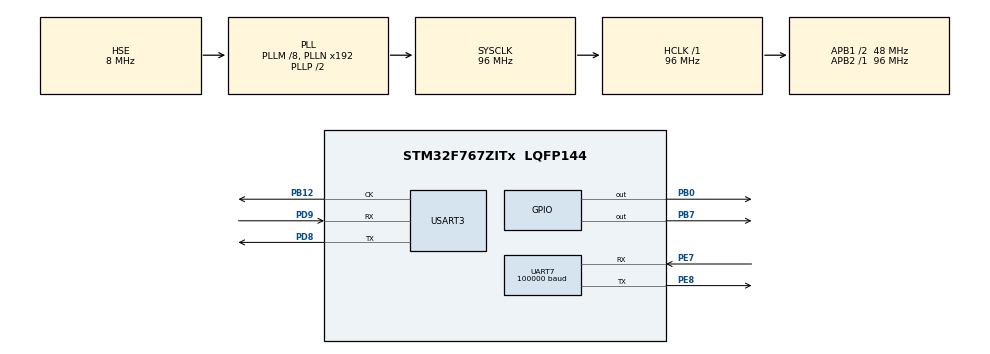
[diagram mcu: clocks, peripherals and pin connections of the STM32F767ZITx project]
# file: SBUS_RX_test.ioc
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Dma.Request0=UART7_RX
Dma.UART7_RX.0.Direction=DMA_PERIPH_TO_MEMORY
Dma.UART7_RX.0.FIFOMode=DMA_FIFOMODE_DISABLE
Dma.UART7_RX.0.Instance=DMA1_Stream3
Dma.UART7_RX.0.MemDataAlignment=DMA_MDATAALIGN_BYTE
Dma.UART7_RX.0.MemInc=DMA_MINC_ENABLE
Dma.UART7_RX.0.Mode=DMA_NORMAL
Dma.UART7_RX.0.PeriphDataAlignment=DMA_PDATAALIGN_BYTE
Dma.UART7_RX.0.PeriphInc=DMA_PINC_DISABLE
Dma.UART7_RX.0.Priority=DMA_PRIORITY_HIGH
Mcu.Family=STM32F7
Mcu.Name=STM32F767ZITx
Mcu.Package=LQFP144
NVIC.DMA1_Stream3_IRQn=true\:0\:0\:false\:false\:true\:false\:true
NVIC.PriorityGroup=NVIC_PRIORITYGROUP_4
PB0.Signal=GPIO_Output
PB12.Mode=Synchronous
PB12.Signal=USART3_CK
PB7.Signal=GPIO_Output
PC14/OSC32_IN.Mode=LSE-External-Oscillator
PC14/OSC32_IN.Signal=RCC_OSC32_IN
PC15/OSC32_OUT.Mode=LSE-External-Oscillator
PC15/OSC32_OUT.Signal=RCC_OSC32_OUT
PD8.Mode=Synchronous
PD8.Signal=USART3_TX
PD9.Mode=Synchronous
PD9.Signal=USART3_RX
PE7.Mode=Asynchronous
PE7.Signal=UART7_RX
PE8.Mode=Asynchronous
PE8.Signal=UART7_TX
PH0/OSC_IN.Mode=HSE-External-Clock-Source
PH0/OSC_IN.Signal=RCC_OSC_IN
PH1/OSC_OUT.Mode=HSE-External-Clock-Source
PH1/OSC_OUT.Signal=RCC_OSC_OUT
ProjectManager.HeapSize=0x200
ProjectManager.StackSize=0x400
ProjectManager.TargetToolchain=STM32CubeIDE
RCC.48MHZClocksFreq_Value=24000000
RCC.AHBFreq_Value=96000000
RCC.APB1CLKDivider=RCC_HCLK_DIV2
RCC.APB1Freq_Value=48000000
RCC.APB1TimFreq_Value=96000000
RCC.APB2Freq_Value=96000000
RCC.APB2TimFreq_Value=96000000
RCC.CortexFreq_Value=96000000
RCC.HCLKFreq_Value=96000000
RCC.HSE_VALUE=8000000
RCC.HSI_VALUE=16000000
RCC.PLLM=8
RCC.PLLMUL=RCC_PLL_MUL9
RCC.PLLSourceVirtual=RCC_PLLSOURCE_HSE
RCC.PRESCALERUSB=RCC_USBCLKSOURCE_PLL_DIV1_5
RCC.SYSCLKFreq_VALUE=96000000
RCC.SYSCLKSource=RCC_SYSCLKSOURCE_PLLCLK
RCC.SYSCLKSourceVirtual=RCC_SYSCLKSOURCE_PLLCLK
RCC.USBFreq_Value=96000000
RCC.VCOOutputFreq_Value=192000000
TIM1.Period=65000
TIM1.Prescaler=96
TIM2.Period=65000
TIM2.Prescaler=96
UART7.BaudRate=100000
UART7.Mode=MODE_RX
UART7.Parity=PARITY_EVEN
UART7.StopBits=UART_STOPBITS_2
UART7.WordLength=WORDLENGTH_9B
USART3.VirtualMode-Synchronous=VM_SYNC
VP_TIM1_VS_ClockSourceINT.Mode=Internal
VP_TIM2_VS_ClockSourceINT.Mode=Internal
board=NUCLEO-F767ZI

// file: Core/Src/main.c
/* USER CODE BEGIN Header */
/**
  ******************************************************************************
  * @file           : main.c
  * @brief          : Main program body
  ******************************************************************************
  * @attention
  *
  * <h2><center>&copy; Copyright (c) 2020 STMicroelectronics.
  * All rights reserved.</center></h2>
  *
  * This software component is licensed by ST under BSD 3-Clause license,
  * the "License"; You may not use this file except in compliance with the
  * License. You may obtain a copy of the License at:
  *                        opensource.org/licenses/BSD-3-Clause
  *
  ******************************************************************************
  */
/* USER CODE END Header */

#include "main.h"

/* USER CODE BEGIN Includes */
#include <string.h> // per riconoscere le funzioni sulle stringhe
#include <stdio.h>
/* USER CODE END Includes */

UART_HandleTypeDef huart7;
USART_HandleTypeDef husart3;
DMA_HandleTypeDef hdma_uart7_rx;

/* USER CODE BEGIN PV */

static const uint8_t SBUS_start=0x0F;
static const uint8_t SBUS_end=0x00;

//variables to use in the callback need to be declared outside the main function
uint32_t time1[5]; //variable to store time elapsed in microseconds
uint8_t buff[64];
uint16_t channels[16];
uint8_t payloads[25];
uint8_t SBUS_NewPack = 0; //Variable to set true (1) or false (0) to let the main code know if new sbus data are available

/* USER CODE END PV */

void SystemClock_Config(void);
static void MX_GPIO_Init(void);
static void MX_DMA_Init(void);
static void MX_TIM1_Init(void);
static void MX_UART7_Init(void);
static void MX_USART3_Init(void);
static void MX_TIM2_Init(void);

int main(void)
{
  /* USER CODE BEGIN 1 */

	uint16_t counter=1;
	//variables to use in the callback are defined in private variables section

  /* USER CODE END 1 */

  /* MCU Configuration--------------------------------------------------------*/

  /* Reset of all peripherals, Initializes the Flash interface and the Systick. */
  HAL_Init();

  /* Configure the system clock */
  SystemClock_Config();

  /* Initialize all configured peripherals */
  MX_GPIO_Init();
  MX_DMA_Init();
  MX_TIM1_Init();
  MX_UART7_Init();
  MX_USART3_Init();
  MX_TIM2_Init();
  /* USER CODE BEGIN 2 */

  HAL_GPIO_TogglePin(GPIOB, GPIO_PIN_0);

  HAL_Delay(10);

  //Timer 1 principal functions
  LL_TIM_EnableCounter(TIM1);
  LL_TIM_SetCounter(TIM1,0);
  LL_TIM_GetCounter(TIM1);

  //Timer 2 principal functions
  LL_TIM_EnableCounter(TIM2);
  LL_TIM_SetCounter(TIM2,0);
  LL_TIM_GetCounter(TIM2);

  // Delay to let the receiver setup
  HAL_Delay(1000);

  /* USER CODE END 2 */

  /* Infinite loop */
  /* USER CODE BEGIN WHILE */

  HAL_GPIO_TogglePin(GPIOB, GPIO_PIN_0); //turn off the green led
  HAL_GPIO_TogglePin(GPIOB, GPIO_PIN_7);

  // Function Interrupt recieve mode
  HAL_UART_Receive_DMA (&huart7, payloads, 25);

  while (1)
  {
	  LL_TIM_SetCounter(TIM1,0);

	  if(counter>=50){
	  		  HAL_GPIO_TogglePin(GPIOB, GPIO_PIN_7);//toggle the led 1Hz
	  		  counter=1;

	  		  //sprintf((char*)buff, "Ciao\r\n");
	  		  //HAL_USART_Transmit(&husart3, buff, strlen((char*)buff), HAL_MAX_DELAY);

	  		  //Channels assignment

	  		  sprintf((char*)buff, "T= %ld\r\n", time1[0]);
	  		  HAL_USART_Transmit(&husart3, buff, strlen((char*)buff), HAL_MAX_DELAY);//print of time between 2 different transmission
	  		  sprintf((char*)buff, "%x\r\n", payloads[24]);
	  		  HAL_USART_Transmit(&husart3, buff, strlen((char*)buff), HAL_MAX_DELAY);//print del primo byte to debug

	  	  }

	  if (SBUS_NewPack==1){

		  channels[0]  = (uint16_t) ((payloads[2] << 8  | payloads[1]) & 0x07FF);
		  sprintf((char*)buff, "%d\r\n", channels[0]);
		  HAL_USART_Transmit(&husart3, buff, strlen((char*)buff), HAL_MAX_DELAY);//print del primo byte to debug

		  SBUS_NewPack=0;
	  }

	  counter += 1;

	  while(LL_TIM_GetCounter(TIM1)<20000){
		  //wait until 10 ms elapse
	  }
    /* USER CODE END WHILE */

  }
}

void SystemClock_Config(void)
{
  RCC_OscInitTypeDef RCC_OscInitStruct = {0};
  RCC_ClkInitTypeDef RCC_ClkInitStruct = {0};
  RCC_PeriphCLKInitTypeDef PeriphClkInitStruct = {0};

  /** Configure LSE Drive Capability
  */
  HAL_PWR_EnableBkUpAccess();
  /** Configure the main internal regulator output voltage
  */
  __HAL_RCC_PWR_CLK_ENABLE();
  __HAL_PWR_VOLTAGESCALING_CONFIG(PWR_REGULATOR_VOLTAGE_SCALE3);
  /** Initializes the CPU, AHB and APB busses clocks
  */
  RCC_OscInitStruct.OscillatorType = RCC_OSCILLATORTYPE_HSE;
  RCC_OscInitStruct.HSEState = RCC_HSE_BYPASS;
  RCC_OscInitStruct.PLL.PLLState = RCC_PLL_ON;
  RCC_OscInitStruct.PLL.PLLSource = RCC_PLLSOURCE_HSE;
  RCC_OscInitStruct.PLL.PLLM = 8;
  RCC_OscInitStruct.PLL.PLLN = 192;
  RCC_OscInitStruct.PLL.PLLP = RCC_PLLP_DIV2;
  RCC_OscInitStruct.PLL.PLLQ = 2;
  if (HAL_RCC_OscConfig(&RCC_OscInitStruct) != HAL_OK)
  {
    Error_Handler();
  }
  /** Activate the Over-Drive mode
  */
  if (HAL_PWREx_EnableOverDrive() != HAL_OK)
  {
    Error_Handler();
  }
  /** Initializes the CPU, AHB and APB busses clocks
  */
  RCC_ClkInitStruct.ClockType = RCC_CLOCKTYPE_HCLK|RCC_CLOCKTYPE_SYSCLK
                              |RCC_CLOCKTYPE_PCLK1|RCC_CLOCKTYPE_PCLK2;
  RCC_ClkInitStruct.SYSCLKSource = RCC_SYSCLKSOURCE_PLLCLK;
  RCC_ClkInitStruct.AHBCLKDivider = RCC_SYSCLK_DIV1;
  RCC_ClkInitStruct.APB1CLKDivider = RCC_HCLK_DIV2;
  RCC_ClkInitStruct.APB2CLKDivider = RCC_HCLK_DIV1;

  if (HAL_RCC_ClockConfig(&RCC_ClkInitStruct, FLASH_LATENCY_3) != HAL_OK)
  {
    Error_Handler();
  }
  PeriphClkInitStruct.PeriphClockSelection = RCC_PERIPHCLK_USART3|RCC_PERIPHCLK_UART7;
  PeriphClkInitStruct.Usart3ClockSelection = RCC_USART3CLKSOURCE_PCLK1;
  PeriphClkInitStruct.Uart7ClockSelection = RCC_UART7CLKSOURCE_PCLK1;
  if (HAL_RCCEx_PeriphCLKConfig(&PeriphClkInitStruct) != HAL_OK)
  {
    Error_Handler();
  }
}

static void MX_TIM1_Init(void)
{

  LL_TIM_InitTypeDef TIM_InitStruct = {0};

  /* Peripheral clock enable */
  LL_APB2_GRP1_EnableClock(LL_APB2_GRP1_PERIPH_TIM1);

  TIM_InitStruct.Prescaler = 96;
  TIM_InitStruct.CounterMode = LL_TIM_COUNTERMODE_UP;
  TIM_InitStruct.Autoreload = 65000;
  TIM_InitStruct.ClockDivision = LL_TIM_CLOCKDIVISION_DIV1;
  TIM_InitStruct.RepetitionCounter = 0;
  LL_TIM_Init(TIM1, &TIM_InitStruct);
  LL_TIM_DisableARRPreload(TIM1);
  LL_TIM_SetClockSource(TIM1, LL_TIM_CLOCKSOURCE_INTERNAL);
  LL_TIM_SetTriggerOutput(TIM1, LL_TIM_TRGO_RESET);
  LL_TIM_SetTriggerOutput2(TIM1, LL_TIM_TRGO2_RESET);
  LL_TIM_DisableMasterSlaveMode(TIM1);

}

static void MX_TIM2_Init(void)
{

  LL_TIM_InitTypeDef TIM_InitStruct = {0};

  /* Peripheral clock enable */
  LL_APB1_GRP1_EnableClock(LL_APB1_GRP1_PERIPH_TIM2);

  TIM_InitStruct.Prescaler = 96;
  TIM_InitStruct.CounterMode = LL_TIM_COUNTERMODE_UP;
  TIM_InitStruct.Autoreload = 65000;
  TIM_InitStruct.ClockDivision = LL_TIM_CLOCKDIVISION_DIV1;
  LL_TIM_Init(TIM2, &TIM_InitStruct);
  LL_TIM_DisableARRPreload(TIM2);
  LL_TIM_SetClockSource(TIM2, LL_TIM_CLOCKSOURCE_INTERNAL);
  LL_TIM_SetTriggerOutput(TIM2, LL_TIM_TRGO_RESET);
  LL_TIM_DisableMasterSlaveMode(TIM2);

}

static void MX_UART7_Init(void)
{

  huart7.Instance = UART7;
  huart7.Init.BaudRate = 100000;
  huart7.Init.WordLength = UART_WORDLENGTH_9B;
  huart7.Init.StopBits = UART_STOPBITS_2;
  huart7.Init.Parity = UART_PARITY_EVEN;
  huart7.Init.Mode = UART_MODE_RX;
  huart7.Init.HwFlowCtl = UART_HWCONTROL_NONE;
  huart7.Init.OverSampling = UART_OVERSAMPLING_16;
  huart7.Init.OneBitSampling = UART_ONE_BIT_SAMPLE_DISABLE;
  huart7.AdvancedInit.AdvFeatureInit = UART_ADVFEATURE_NO_INIT;
  if (HAL_UART_Init(&huart7) != HAL_OK)
  {
    Error_Handler();
  }

}

static void MX_USART3_Init(void)
{

  husart3.Instance = USART3;
  husart3.Init.BaudRate = 115200;
  husart3.Init.WordLength = USART_WORDLENGTH_8B;
  husart3.Init.StopBits = USART_STOPBITS_1;
  husart3.Init.Parity = USART_PARITY_NONE;
  husart3.Init.Mode = USART_MODE_TX_RX;
  husart3.Init.CLKPolarity = USART_POLARITY_LOW;
  husart3.Init.CLKPhase = USART_PHASE_1EDGE;
  husart3.Init.CLKLastBit = USART_LASTBIT_DISABLE;
  if (HAL_USART_Init(&husart3) != HAL_OK)
  {
    Error_Handler();
  }

}

static void MX_DMA_Init(void)
{

  /* DMA controller clock enable */
  __HAL_RCC_DMA1_CLK_ENABLE();

  /* DMA interrupt init */
  /* DMA1_Stream3_IRQn interrupt configuration */
  HAL_NVIC_SetPriority(DMA1_Stream3_IRQn, 0, 0);
  HAL_NVIC_EnableIRQ(DMA1_Stream3_IRQn);

}

static void MX_GPIO_Init(void)
{
  GPIO_InitTypeDef GPIO_InitStruct = {0};

  /* GPIO Ports Clock Enable */
  __HAL_RCC_GPIOC_CLK_ENABLE();
  __HAL_RCC_GPIOH_CLK_ENABLE();
  __HAL_RCC_GPIOB_CLK_ENABLE();
  __HAL_RCC_GPIOE_CLK_ENABLE();
  __HAL_RCC_GPIOD_CLK_ENABLE();

  /*Configure GPIO pin Output Level */
  HAL_GPIO_WritePin(GPIOB, GPIO_PIN_0|GPIO_PIN_7, GPIO_PIN_RESET);

  /*Configure GPIO pins : PB0 PB7 */
  GPIO_InitStruct.Pin = GPIO_PIN_0|GPIO_PIN_7;
  GPIO_InitStruct.Mode = GPIO_MODE_OUTPUT_PP;
  GPIO_InitStruct.Pull = GPIO_NOPULL;
  GPIO_InitStruct.Speed = GPIO_SPEED_FREQ_LOW;
  HAL_GPIO_Init(GPIOB, &GPIO_InitStruct);

}

/* USER CODE BEGIN 4 */

//In this section I have to insert the call back for the interrupt function

void HAL_UART_RxCpltCallback(UART_HandleTypeDef *huart)
{
	time1[0] = LL_TIM_GetCounter(TIM2);
	LL_TIM_SetCounter(TIM2,0);

	SBUS_NewPack=1; //Set the new pak available variable to true
	HAL_UART_Receive_DMA (&huart7, payloads, 25);
}

/* USER CODE END 4 */

void Error_Handler(void)
{
}

/************************ (C) COPYRIGHT STMicroelectronics *****END OF FILE****/
